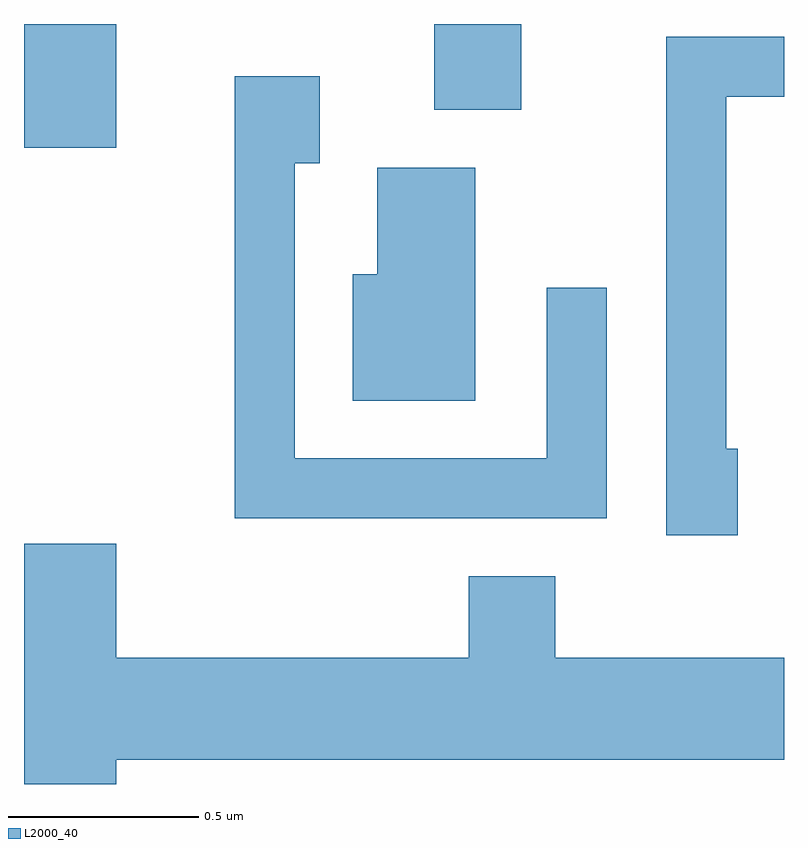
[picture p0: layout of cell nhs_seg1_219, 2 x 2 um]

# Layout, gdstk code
import gdstk
lib = gdstk.Library(unit=1e-6, precision=1e-09)
def R(c, l, rs):  # rectangles x0, y0, x1, y1
    for r in rs: c.add(gdstk.rectangle(r[:2], r[2:], *l))
def P(c, l, *ps):  # polygons
    for p in ps: c.add(gdstk.Polygon(p, *l))
L2000_40 = (2000, 40)

nhs_seg1_219 = lib.new_cell('nhs_seg1_219')
R(nhs_seg1_219, L2000_40, [(186.611,923.386,186.854,923.712), (187.691,923.486,187.919,923.712)])
P(nhs_seg1_219, L2000_40, [(188.489,922.594),(188.459,922.594),(188.459,923.521),(188.611,923.521),(188.611,923.679),(188.301,923.679),(188.301,922.366),(188.489,922.366)],
  [(188.144,923.018),(187.986,923.018),(187.986,922.569),(187.324,922.569),(187.324,923.346),(187.389,923.346),(187.389,923.574),(187.166,923.574),(187.166,922.411),(188.144,922.411)],
  [(187.799,923.334),(187.541,923.334),(187.541,923.054),(187.476,923.054),(187.476,922.721),(187.799,922.721)],
  [(186.854,921.776),(188.611,921.776),(188.611,922.044),(188.009,922.044),(188.009,922.259),(187.781,922.259),(187.781,922.044),(186.854,922.044),(186.854,922.344),(186.611,922.344),(186.611,921.712),(186.854,921.712)])

lib.write_gds('nhs_seg1_219.gds')
